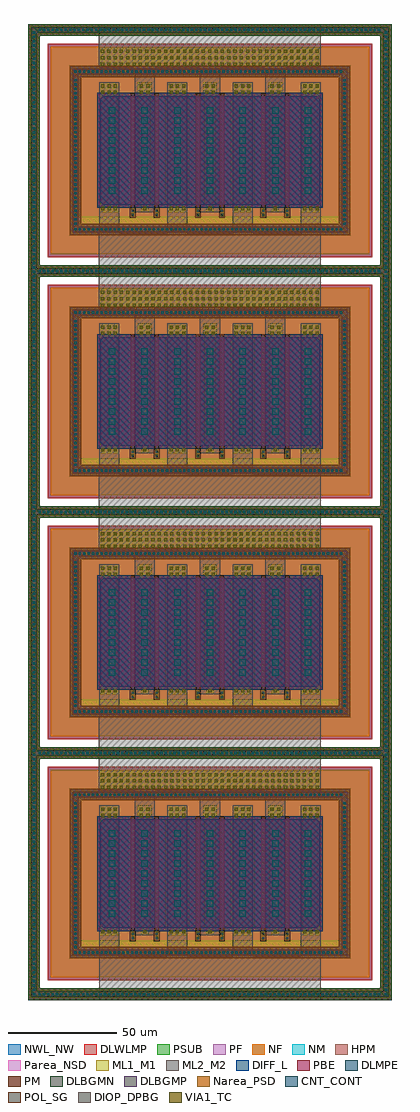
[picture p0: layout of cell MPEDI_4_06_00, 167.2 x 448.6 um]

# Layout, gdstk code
from math import pi, radians
import gdstk
lib = gdstk.Library(unit=1e-6, precision=1e-09)
def R(c, l, rs):  # rectangles x0, y0, x1, y1
    for r in rs: c.add(gdstk.rectangle(r[:2], r[2:], *l))
def A(c, l, x, y, w, h, nx, ny, dx, dy):  # array of equal rectangles
    R(c, l, [(x+i*dx, y+j*dy, x+i*dx+w, y+j*dy+h) for i in range(nx) for j in range(ny)])
def P(c, l, *ps):  # polygons
    for p in ps: c.add(gdstk.Polygon(p, *l))
DIFF_L = (3, 0)
NM = (7, 0)
POL_SG = (8, 0)
Narea_PSD = (9, 0)
CNT_CONT = (11, 0)
ML1_M1 = (13, 0)
VIA1_TC = (19, 0)
ML2_M2 = (20, 0)
NF = (25, 0)
PF = (26, 0)
Parea_NSD = (28, 0)
HPM = (33, 0)
PM = (35, 0)
NWL_NW = (36, 0)
DIOP_DPBG = (116, 0)
PSUB = (140, 0)
PBE = (146, 0)
DLWLMP = (150, 0)
DLMPE = (169, 0)
DLBGMP = (177, 0)
DLBGMN = (178, 0)

bgmn_cdns_696587050830 = lib.new_cell('BGMN_CDNS_696587050830')
R(bgmn_cdns_696587050830, DIFF_L, [(0,0,159.2,2.6)])
R(bgmn_cdns_696587050830, NM, [(-1.4,-1.4,160.6,4)])
A(bgmn_cdns_696587050830, CNT_CONT, 0.8, 0.8, 1, 1, 79, 1, 2, 0)
R(bgmn_cdns_696587050830, ML1_M1, [(0,0,159.2,2.6)])
R(bgmn_cdns_696587050830, Parea_NSD, [(-1.4,-1.4,160.6,4)])
R(bgmn_cdns_696587050830, HPM, [(-1.4,-1.4,160.6,4)])
R(bgmn_cdns_696587050830, PM, [(-1.4,-1.4,160.6,4)])

bgmp_cdns_696587089210 = lib.new_cell('BGMP_CDNS_696587089210')
R(bgmp_cdns_696587089210, DIFF_L, [(0,0,126.2,2.6)])
R(bgmp_cdns_696587089210, NM, [(-1.4,-1.4,127.6,4)])
R(bgmp_cdns_696587089210, Narea_PSD, [(-1.4,-1.4,127.6,4)])
A(bgmp_cdns_696587089210, CNT_CONT, 0.8, 0.8, 1, 1, 62, 1, 2, 0)
R(bgmp_cdns_696587089210, ML1_M1, [(0,0,126.2,2.6)])
R(bgmp_cdns_696587089210, HPM, [(-1.4,-1.4,127.6,4)])
R(bgmp_cdns_696587089210, PM, [(-1.4,-1.4,127.6,4)])

bgmp_cdns_696587089211 = lib.new_cell('BGMP_CDNS_696587089211')
R(bgmp_cdns_696587089211, DIFF_L, [(0,0,70,2.6)])
R(bgmp_cdns_696587089211, NM, [(-1.4,-1.4,71.4,4)])
R(bgmp_cdns_696587089211, Narea_PSD, [(-1.4,-1.4,71.4,4)])
A(bgmp_cdns_696587089211, CNT_CONT, 0.8, 0.8, 1, 1, 34, 1, 2, 0)
R(bgmp_cdns_696587089211, ML1_M1, [(0,0,70,2.6)])
R(bgmp_cdns_696587089211, HPM, [(-1.4,-1.4,71.4,4)])
R(bgmp_cdns_696587089211, PM, [(-1.4,-1.4,71.4,4)])

mpe_cdns_696587089212 = lib.new_cell('MPE_CDNS_696587089212')
R(mpe_cdns_696587089212, DIFF_L, [(10,0,12,50)])
P(mpe_cdns_696587089212, DIFF_L, [(12,0),(12,50),(24.6,50),(26,48.6),(26,1.4),(24.6,0)],
  [(1.4,0),(0,1.4),(0,48.6),(1.4,50),(10,50),(10,0)])
R(mpe_cdns_696587089212, NM, [(-1.4,-1.4,27.4,51.4)])
R(mpe_cdns_696587089212, POL_SG, [(10,-1.2,12,0), (10,-1.2,12,51.2), (10,50,12,51.2)])
A(mpe_cdns_696587089212, CNT_CONT, 4, 5.1, 3, 3, 1, 9, 0, 4.6)
A(mpe_cdns_696587089212, CNT_CONT, 19, 5.1, 3, 3, 1, 9, 0, 4.6)
R(mpe_cdns_696587089212, ML1_M1, [(2.8,0,8.2,50), (17.8,0,26,50)])
R(mpe_cdns_696587089212, Parea_NSD, [(-1.4,-1.4,27.4,51.4)])
R(mpe_cdns_696587089212, HPM, [(-1.4,-1.4,27.4,51.4)])
R(mpe_cdns_696587089212, DIOP_DPBG, [(10,0,12,50)])
R(mpe_cdns_696587089212, PBE, [(-1.4,-1.4,27.4,51.4)])
R(mpe_cdns_696587089212, DLMPE, [(-1.4,-1.4,27.4,51.4)])

wlmp_cdns_696587089213 = lib.new_cell('WLMP_CDNS_696587089213')
R(wlmp_cdns_696587089213, NF, [(1.5,1.5,147.7,96.7)])
R(wlmp_cdns_696587089213, PF, [(1.5,1.5,147.7,96.7)])
R(wlmp_cdns_696587089213, NWL_NW, [(0,0,149.2,98.2)])
R(wlmp_cdns_696587089213, PSUB, [(1.5,1.5,147.7,96.7)])
R(wlmp_cdns_696587089213, DLWLMP, [(0,0,149.2,98.2)])

tc14_cdns_696587089210 = lib.new_cell('TC14_CDNS_696587089210')
R(tc14_cdns_696587089210, ML1_M1, [(-36.5,-1.7,36.5,1.7)])
A(tc14_cdns_696587089210, VIA1_TC, -35.5, -0.7, 1.4, 1.4, 25, 1, 2.9, 0)
R(tc14_cdns_696587089210, ML2_M2, [(-36.5,-1.7,36.5,1.7)])

sgct_cdns_696587089211 = lib.new_cell('SGCT_CDNS_696587089211')
R(sgct_cdns_696587089211, POL_SG, [(-1.3,-2.3,1.3,2.3)])
R(sgct_cdns_696587089211, CNT_CONT, [(-0.5,-1.5,0.5,-0.5), (-0.5,0.5,0.5,1.5)])
R(sgct_cdns_696587089211, ML1_M1, [(-1.3,-2.3,1.3,2.3)])

tc14_cdns_696587089212 = lib.new_cell('TC14_CDNS_696587089212')
R(tc14_cdns_696587089212, ML1_M1, [(-4.6,-1.7,4.6,1.7)])
A(tc14_cdns_696587089212, VIA1_TC, -3.6, -0.7, 1.4, 1.4, 3, 1, 2.9, 0)
R(tc14_cdns_696587089212, ML2_M2, [(-4.6,-1.7,4.6,1.7)])

tc14_cdns_696587089213 = lib.new_cell('TC14_CDNS_696587089213')
R(tc14_cdns_696587089213, ML1_M1, [(-4.6,-3.1,4.6,3.2)])
A(tc14_cdns_696587089213, VIA1_TC, -3.6, -2.1, 1.4, 1.4, 3, 2, 2.9, 2.9)
R(tc14_cdns_696587089213, ML2_M2, [(-4.6,-3.1,4.6,3.2)])

tc14_cdns_696587089214 = lib.new_cell('TC14_CDNS_696587089214')
R(tc14_cdns_696587089214, ML1_M1, [(-1.7,-3.1,1.7,3.2)])
R(tc14_cdns_696587089214, VIA1_TC, [(-0.7,-2.1,0.7,-0.7), (-0.7,0.8,0.7,2.2)])
R(tc14_cdns_696587089214, ML2_M2, [(-1.7,-3.1,1.7,3.2)])

tc14_cdns_696587089215 = lib.new_cell('TC14_CDNS_696587089215')
R(tc14_cdns_696587089215, ML1_M1, [(-1.7,-1.7,1.7,1.7)])
R(tc14_cdns_696587089215, VIA1_TC, [(-0.7,-0.7,0.7,0.7)])
R(tc14_cdns_696587089215, ML2_M2, [(-1.7,-1.7,1.7,1.7)])

mpedi_06_00_int = lib.new_cell('MPEDI_06_00_int')
R(mpedi_06_00_int, POL_SG, [(38.1,22.7,40.1,22.9), (49.1,22.7,51.1,22.9), (68.1,22.7,70.1,22.9), (79.1,22.7,81.1,22.9), (98.1,22.7,100.1,22.9), (109.1,22.7,111.1,22.9)])
R(mpedi_06_00_int, ML1_M1, [(14.1,14.1,135.1,18.5)])
A(mpedi_06_00_int, ML2_M2, 40, 20.7, 9.2, 69.8, 3, 1, 30, 0)
R(mpedi_06_00_int, ML2_M2, [(23.6,8.1,32.8,80.4), (23.6,8.1,25,9.5), (55,8.1,64.2,80.4), (85,8.1,94.2,80.4), (116.4,8.1,125.6,80.4), (38,89.1,39.4,90.5)])
R(mpedi_06_00_int, DLBGMP, [(10.1,10.1,139.1,15.5), (10.1,12.7,15.5,85.5), (133.7,12.7,139.1,85.5), (10.1,82.7,139.1,88.1)])
mpedi_06_00_int.add(gdstk.FlexPath([(11.1,12.8),(138.1,12.8)], 3.4, ends="flush", simple_path=True, layer=13, datatype=0))  # ML1_M1
mpedi_06_00_int.add(gdstk.FlexPath([(11.1,85.4),(138.1,85.4)], 3.4, ends="flush", simple_path=True, layer=13, datatype=0))  # ML1_M1
mpedi_06_00_int.add(gdstk.FlexPath([(12.8,11.1),(12.8,87.1)], 3.4, ends="flush", simple_path=True, layer=13, datatype=0))  # ML1_M1
mpedi_06_00_int.add(gdstk.FlexPath([(136.4,11.1),(136.4,87.1)], 3.4, ends="flush", simple_path=True, layer=13, datatype=0))  # ML1_M1
mpedi_06_00_int.add(gdstk.FlexPath([(125.6,9.6),(23.6,9.6)], 3, ends="flush", simple_path=True, layer=20, datatype=0))  # ML2_M2
mpedi_06_00_int.add(gdstk.Reference(bgmp_cdns_696587089210, (11.5,84.1)))
mpedi_06_00_int.add(gdstk.Reference(bgmp_cdns_696587089210, (11.5,11.5)))
mpedi_06_00_int.add(gdstk.Reference(bgmp_cdns_696587089211, (137.7,14.1), rotation=pi/2))
mpedi_06_00_int.add(gdstk.Reference(bgmp_cdns_696587089211, (14.1,14.1), rotation=pi/2))
mpedi_06_00_int.add(gdstk.Reference(mpe_cdns_696587089212, (110.1,24.1), rotation=pi, x_reflection=True))
mpedi_06_00_int.add(gdstk.Reference(mpe_cdns_696587089212, (69.1,24.1)))
mpedi_06_00_int.add(gdstk.Reference(mpe_cdns_696587089212, (99.1,24.1)))
mpedi_06_00_int.add(gdstk.Reference(mpe_cdns_696587089212, (50.1,24.1), rotation=pi, x_reflection=True))
mpedi_06_00_int.add(gdstk.Reference(mpe_cdns_696587089212, (39.1,24.1)))
mpedi_06_00_int.add(gdstk.Reference(mpe_cdns_696587089212, (80.1,24.1), rotation=pi, x_reflection=True))
mpedi_06_00_int.add(gdstk.Reference(wlmp_cdns_696587089213, (0,0)))
mpedi_06_00_int.add(gdstk.Reference(tc14_cdns_696587089210, (74.5,88.8)))
mpedi_06_00_int.add(gdstk.Reference(sgct_cdns_696587089211, (110.1,20.4)))
mpedi_06_00_int.add(gdstk.Reference(sgct_cdns_696587089211, (99.1,20.4)))
mpedi_06_00_int.add(gdstk.Reference(sgct_cdns_696587089211, (80.1,20.4)))
mpedi_06_00_int.add(gdstk.Reference(sgct_cdns_696587089211, (69.1,20.4)))
mpedi_06_00_int.add(gdstk.Reference(sgct_cdns_696587089211, (50.1,20.4)))
mpedi_06_00_int.add(gdstk.Reference(sgct_cdns_696587089211, (39.1,20.4)))
mpedi_06_00_int.add(gdstk.Reference(tc14_cdns_696587089212, (121,22.4)))
mpedi_06_00_int.add(gdstk.Reference(tc14_cdns_696587089212, (89.6,22.4)))
mpedi_06_00_int.add(gdstk.Reference(tc14_cdns_696587089212, (59.6,22.4)))
mpedi_06_00_int.add(gdstk.Reference(tc14_cdns_696587089212, (28.2,22.4)))
mpedi_06_00_int.add(gdstk.Reference(tc14_cdns_696587089213, (121,77.2)))
mpedi_06_00_int.add(gdstk.Reference(tc14_cdns_696587089213, (89.6,77.2)))
mpedi_06_00_int.add(gdstk.Reference(tc14_cdns_696587089213, (59.6,77.2)))
mpedi_06_00_int.add(gdstk.Reference(tc14_cdns_696587089213, (28.2,77.2)))
mpedi_06_00_int.add(gdstk.Reference(tc14_cdns_696587089214, (106.1,77.2)))
mpedi_06_00_int.add(gdstk.Reference(tc14_cdns_696587089214, (103.1,77.2)))
mpedi_06_00_int.add(gdstk.Reference(tc14_cdns_696587089214, (76.1,77.2)))
mpedi_06_00_int.add(gdstk.Reference(tc14_cdns_696587089214, (73.1,77.2)))
mpedi_06_00_int.add(gdstk.Reference(tc14_cdns_696587089214, (46.1,77.2)))
mpedi_06_00_int.add(gdstk.Reference(tc14_cdns_696587089214, (43.1,77.2)))
mpedi_06_00_int.add(gdstk.Reference(tc14_cdns_696587089215, (104.6,22.4)))
mpedi_06_00_int.add(gdstk.Reference(tc14_cdns_696587089215, (74.6,22.4)))
mpedi_06_00_int.add(gdstk.Reference(tc14_cdns_696587089215, (44.7,22.4)))

bgmn_cdns_696587050835 = lib.new_cell('BGMN_CDNS_696587050835')
R(bgmn_cdns_696587050835, DIFF_L, [(0,0,445.8,2.6)])
R(bgmn_cdns_696587050835, NM, [(-1.4,-1.4,447.2,4)])
A(bgmn_cdns_696587050835, CNT_CONT, 0.8, 0.8, 1, 1, 222, 1, 2, 0)
R(bgmn_cdns_696587050835, ML1_M1, [(0,0,445.8,2.6)])
R(bgmn_cdns_696587050835, Parea_NSD, [(-1.4,-1.4,447.2,4)])
R(bgmn_cdns_696587050835, HPM, [(-1.4,-1.4,447.2,4)])
R(bgmn_cdns_696587050835, PM, [(-1.4,-1.4,447.2,4)])

tc14_cdns_696587050830 = lib.new_cell('TC14_CDNS_696587050830')
R(tc14_cdns_696587050830, ML1_M1, [(-51,-4.5,51,4.7)])
A(tc14_cdns_696587050830, VIA1_TC, -50, -3.5, 1.4, 1.4, 35, 3, 2.9, 2.9)
R(tc14_cdns_696587050830, ML2_M2, [(-51,-4.5,51,4.7)])

mpedi_4_06_00 = lib.new_cell('MPEDI_4_06_00')
A(mpedi_4_06_00, ML2_M2, 32.5, 96.1, 102.1, 34.8, 1, 3, 0, 110.8)
R(mpedi_4_06_00, ML2_M2, [(32.6,0,134.6,20.1), (32.6,17.1,34.1,18.6), (32.6,17.1,34.1,18.6), (32.5,428.5,134.6,448.6), (32.5,447.1,34,448.6)])
A(mpedi_4_06_00, DLBGMN, 2.6, 0, 162, 5.4, 1, 5, 0, 110.8)
R(mpedi_4_06_00, DLBGMN, [(0,0,5.4,448.6), (161.8,0,167.2,448.6)])
mpedi_4_06_00.add(gdstk.FlexPath([(1,224.3),(166.2,224.3)], 3.4, ends="flush", simple_path=True, layer=13, datatype=0))  # ML1_M1
mpedi_4_06_00.add(gdstk.FlexPath([(1,113.5),(166.2,113.5)], 3.4, ends="flush", simple_path=True, layer=13, datatype=0))  # ML1_M1
mpedi_4_06_00.add(gdstk.FlexPath([(1,2.7),(166.2,2.7)], 3.4, ends="flush", simple_path=True, layer=13, datatype=0))  # ML1_M1
mpedi_4_06_00.add(gdstk.FlexPath([(1,335.1),(166.2,335.1)], 3.4, ends="flush", simple_path=True, layer=13, datatype=0))  # ML1_M1
mpedi_4_06_00.add(gdstk.FlexPath([(2.7,1),(2.7,447.6)], 3.4, ends="flush", simple_path=True, layer=13, datatype=0))  # ML1_M1
mpedi_4_06_00.add(gdstk.FlexPath([(1,445.9),(166.2,445.9)], 3.4, ends="flush", simple_path=True, layer=13, datatype=0))  # ML1_M1
mpedi_4_06_00.add(gdstk.FlexPath([(164.5,1),(164.5,447.6)], 3.4, ends="flush", simple_path=True, layer=13, datatype=0))  # ML1_M1
mpedi_4_06_00.add(gdstk.Reference(bgmn_cdns_696587050830, (4,223)))
mpedi_4_06_00.add(gdstk.Reference(bgmn_cdns_696587050830, (4,333.8)))
mpedi_4_06_00.add(gdstk.Reference(bgmn_cdns_696587050830, (4,1.4)))
mpedi_4_06_00.add(gdstk.Reference(bgmn_cdns_696587050830, (4,112.2)))
mpedi_4_06_00.add(gdstk.Reference(bgmn_cdns_696587050830, (4,444.6)))
mpedi_4_06_00.add(gdstk.Reference(mpedi_06_00_int, (9,9)))
mpedi_4_06_00.add(gdstk.Reference(mpedi_06_00_int, (9,119.8)))
mpedi_4_06_00.add(gdstk.Reference(mpedi_06_00_int, (9,230.6)))
mpedi_4_06_00.add(gdstk.Reference(mpedi_06_00_int, (9,341.4)))
mpedi_4_06_00.add(gdstk.Reference(bgmn_cdns_696587050835, (165.8,1.4), rotation=pi/2))
mpedi_4_06_00.add(gdstk.Reference(bgmn_cdns_696587050835, (4,1.4), rotation=pi/2))
mpedi_4_06_00.add(gdstk.Reference(tc14_cdns_696587050830, (83.5,433)))
mpedi_4_06_00.add(gdstk.Reference(tc14_cdns_696587050830, (83.5,100.6)))
mpedi_4_06_00.add(gdstk.Reference(tc14_cdns_696587050830, (83.5,211.4)))
mpedi_4_06_00.add(gdstk.Reference(tc14_cdns_696587050830, (83.5,322.2)))

lib.write_gds('MPEDI_4_06_00.gds')
